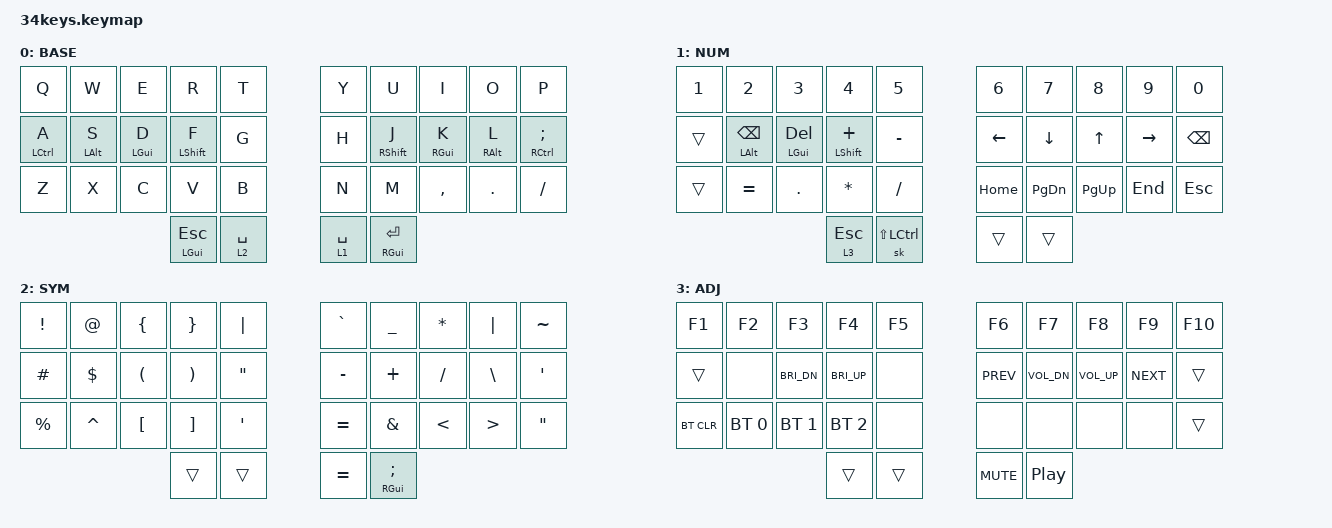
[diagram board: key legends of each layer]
/*
 * Copyright (c) 2020 The ZMK Contributors
 *
 * SPDX-License-Identifier: MIT
 */

#include <behaviors.dtsi>
#include <dt-bindings/zmk/keys.h>
#include <dt-bindings/zmk/bt.h>

#define BASE 0
#define NUM  1
#define SYM  2
#define ADJ  3

&mt {
  //  flavor = "tap-preferred";
   // tapping_term_ms = <200>;
  // enable quick tap
  quick_tap_ms = <175>;
};

&lt {
  // enable quick tap
  quick_tap_ms = <175>;
};

//&sk {
//    release-after-ms = <2000>;
//};

&caps_word {
    continue-list = <UNDERSCORE MINUS BSPC>;
};

/ {

    behaviors {
      #include "macros.dtsi"

      // homerow mods w/ sticky mods
      hm: homerow_mods {
          compatible = "zmk,behavior-hold-tap";
          label = "homerow_mods";
          #binding-cells = <2>;
          tapping-term-ms = <200>;
          quick_tap_ms = <175>;
          flavor = "tap-preferred";
          bindings = <&sk>, <&kp>;
      };
    };

    #include "combos.dtsi"

    keymap {
      compatible = "zmk,keymap";

      default_layer {
        label = "BASE";
        bindings = <
          &kp Q       &kp W      &kp E      &kp R        &kp T      &kp Y   &kp U        &kp I      &kp O      &kp P
          &hm LCTRL A &hm LALT S &hm LGUI D &hm LSHIFT F &kp G      &kp H   &hm RSHIFT J &hm RGUI K &hm RALT L &hm RCTRL SEMI
          &kp Z       &kp X      &kp C      &kp V        &kp B      &kp N   &kp M        &kp COMMA  &kp DOT    &kp FSLH
                                         &mt LGUI ESC  &lt 2 SPACE  &lt 1 SPACE &mt RGUI ENTER
        >;
      };

      num_layer {
        // numbers, navigation, & "math" symbols (layer 1)
        label = "NUM";
        bindings = <
          &kp N1 &kp N2        &kp N3       &kp N4          &kp N5       &kp N6   &kp N7    &kp N8    &kp N9   &kp N0
          &trans &hm LALT BSPC &hm LGUI DEL &hm LSHIFT PLUS &kp MINUS    &kp LEFT &kp DOWN  &kp UP    &kp RIGHT &kp BSPC
          &trans &kp EQUAL     &kp DOT      &kp ASTRK       &kp FSLH     &kp HOME &kp PG_DN &kp PG_UP &kp END  &kp ESC
                                            &lt 3 ESC  &sk LS(LCTRL)     &trans   &trans
        >;
      };

      symbols_layer {
        // symbols (layer 2)
        label = "SYM";
        bindings = <
          &kp EXCL  &kp AT    &kp LBRC &kp RBRC &kp PIPE   &kp GRAVE &kp UNDER &kp ASTRK &kp PIPE &kp TILDE
          &kp HASH  &kp DLLR  &kp LPAR &kp RPAR &kp DQT    &kp MINUS &kp PLUS  &kp FSLH  &kp BSLH &kp SQT
          &kp PRCNT &kp CARET &kp LBKT &kp RBKT &kp SQT    &kp EQUAL &kp AMPS  &kp LT    &kp GT   &kp DQT
                                       &trans   &trans     &kp EQUAL &mt RGUI SEMI
        >;
      };

      adjust_layer {
        // adjust, F keys, media keys, zmk BT (layer 3)
        label = "ADJ";
        bindings = <
          &kp F1      &kp F2       &kp F3       &kp F4       &kp F5     &kp F6     &kp F7       &kp F8       &kp F9     &kp F10
          &trans      &none        &kp C_BRI_DN &kp C_BRI_UP &none      &kp C_PREV &kp C_VOL_DN &kp C_VOL_UP &kp C_NEXT &trans
          &bt BT_CLR  &bt BT_SEL 0 &bt BT_SEL 1 &bt BT_SEL 2 &none      &none      &none        &none        &none      &trans
                                                &trans       &trans     &kp K_MUTE &kp C_PLAY_PAUSE
        >;
      };
    };
};
